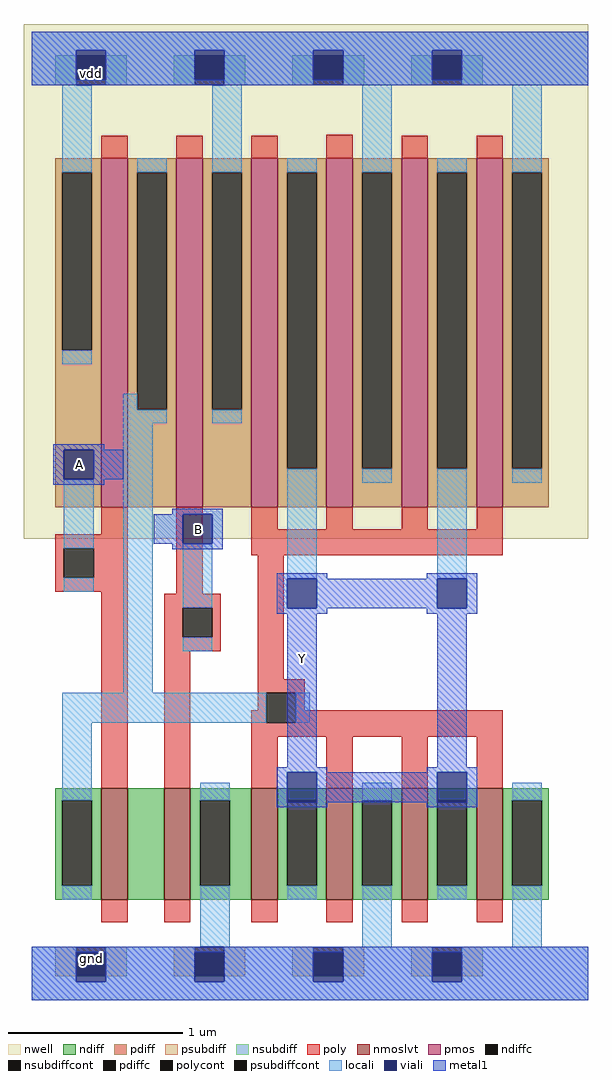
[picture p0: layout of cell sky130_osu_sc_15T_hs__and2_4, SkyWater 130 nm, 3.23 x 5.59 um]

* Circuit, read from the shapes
.subckt sky130_osu_sc_15T_hs__and2_4 Y A B
XM1 n1 A n2 gnd sky130_fd_pr__nfet_01v8_lvt w=0.64 l=0.15
XM2 gnd B n1 gnd sky130_fd_pr__nfet_01v8_lvt w=0.64 l=0.15
XM3 Y n2 gnd gnd sky130_fd_pr__nfet_01v8_lvt w=0.64 l=0.15 m=4
XM4 n2 A vdd vdd sky130_fd_pr__pfet_01v8 w=2 l=0.15
XM5 vdd B n2 vdd sky130_fd_pr__pfet_01v8 w=2 l=0.15
XM6 Y n2 vdd vdd sky130_fd_pr__pfet_01v8 w=2 l=0.15 m=4
.ends

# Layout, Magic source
magic
tech sky130A
magscale 1 2
<< nwell >>
rect -9 529 638 1119
<< nmoslvt >>
rect 80 115 110 243
rect 152 115 182 243
rect 252 115 282 243
rect 338 115 368 243
rect 424 115 454 243
rect 510 115 540 243
<< pmos >>
rect 80 565 110 965
rect 166 565 196 965
rect 252 565 282 965
rect 338 565 368 965
rect 424 565 454 965
rect 510 565 540 965
<< ndiff >>
rect 27 229 80 243
rect 27 131 35 229
rect 69 131 80 229
rect 27 115 80 131
rect 110 115 152 243
rect 182 229 252 243
rect 182 131 193 229
rect 227 131 252 229
rect 182 115 252 131
rect 282 229 338 243
rect 282 131 293 229
rect 327 131 338 229
rect 282 115 338 131
rect 368 229 424 243
rect 368 131 379 229
rect 413 131 424 229
rect 368 115 424 131
rect 454 229 510 243
rect 454 131 465 229
rect 499 131 510 229
rect 454 115 510 131
rect 540 229 593 243
rect 540 131 551 229
rect 585 131 593 229
rect 540 115 593 131
<< pdiff >>
rect 27 949 80 965
rect 27 745 35 949
rect 69 745 80 949
rect 27 565 80 745
rect 110 949 166 965
rect 110 677 121 949
rect 155 677 166 949
rect 110 565 166 677
rect 196 949 252 965
rect 196 677 207 949
rect 241 677 252 949
rect 196 565 252 677
rect 282 949 338 965
rect 282 609 293 949
rect 327 609 338 949
rect 282 565 338 609
rect 368 949 424 965
rect 368 609 379 949
rect 413 609 424 949
rect 368 565 424 609
rect 454 949 510 965
rect 454 609 465 949
rect 499 609 510 949
rect 454 565 510 609
rect 540 949 593 965
rect 540 609 551 949
rect 585 609 593 949
rect 540 565 593 609
<< ndiffc >>
rect 35 131 69 229
rect 193 131 227 229
rect 293 131 327 229
rect 379 131 413 229
rect 465 131 499 229
rect 551 131 585 229
<< pdiffc >>
rect 35 745 69 949
rect 121 677 155 949
rect 207 677 241 949
rect 293 609 327 949
rect 379 609 413 949
rect 465 609 499 949
rect 551 609 585 949
<< psubdiff >>
rect 27 27 51 61
rect 85 27 109 61
rect 163 27 187 61
rect 221 27 245 61
rect 299 27 323 61
rect 357 27 381 61
rect 435 27 459 61
rect 493 27 517 61
<< nsubdiff >>
rect 27 1049 51 1083
rect 85 1049 109 1083
rect 163 1049 187 1083
rect 221 1049 245 1083
rect 299 1049 323 1083
rect 357 1049 381 1083
rect 435 1049 459 1083
rect 493 1049 517 1083
<< psubdiffcont >>
rect 51 27 85 61
rect 187 27 221 61
rect 323 27 357 61
rect 459 27 493 61
<< nsubdiffcont >>
rect 51 1049 85 1083
rect 187 1049 221 1083
rect 323 1049 357 1083
rect 459 1049 493 1083
<< poly >>
rect 80 965 110 991
rect 166 965 196 991
rect 252 965 282 991
rect 338 965 368 992
rect 424 965 454 991
rect 510 965 540 991
rect 80 534 110 565
rect 27 518 110 534
rect 27 484 37 518
rect 71 484 110 518
rect 27 468 110 484
rect 80 243 110 468
rect 166 466 196 565
rect 252 540 282 565
rect 338 540 368 565
rect 424 540 454 565
rect 510 540 540 565
rect 252 510 540 540
rect 152 450 217 466
rect 152 416 173 450
rect 207 416 217 450
rect 152 400 217 416
rect 152 243 182 400
rect 259 368 289 510
rect 259 352 313 368
rect 259 332 269 352
rect 252 318 269 332
rect 303 332 313 352
rect 303 318 540 332
rect 252 302 540 318
rect 252 243 282 302
rect 338 243 368 302
rect 424 243 454 302
rect 510 243 540 302
rect 80 89 110 115
rect 152 89 182 115
rect 252 89 282 115
rect 338 89 368 115
rect 424 89 454 115
rect 510 89 540 115
<< polycont >>
rect 37 484 71 518
rect 173 416 207 450
rect 269 318 303 352
<< locali >>
rect 0 1089 638 1110
rect 0 1049 51 1089
rect 85 1049 187 1089
rect 221 1049 323 1089
rect 357 1049 459 1089
rect 493 1049 638 1089
rect 35 949 69 1049
rect 35 729 69 745
rect 121 949 155 965
rect 105 677 121 695
rect 105 661 155 677
rect 207 949 241 1049
rect 207 661 241 677
rect 293 949 327 965
rect 37 518 71 597
rect 37 468 71 484
rect 105 352 139 661
rect 173 450 207 523
rect 293 483 327 609
rect 379 949 413 1049
rect 379 593 413 609
rect 465 949 499 965
rect 465 483 499 609
rect 551 949 585 1049
rect 551 593 585 609
rect 173 400 207 416
rect 35 318 269 352
rect 303 318 319 352
rect 35 229 69 318
rect 35 115 69 131
rect 193 229 227 249
rect 193 61 227 131
rect 293 115 327 131
rect 379 229 413 249
rect 379 61 413 131
rect 465 115 499 131
rect 551 229 585 249
rect 551 61 585 131
rect 0 21 51 61
rect 85 21 187 61
rect 221 21 323 61
rect 357 21 459 61
rect 493 21 638 61
rect 0 0 638 21
<< viali >>
rect 51 1083 85 1089
rect 51 1055 85 1083
rect 187 1083 221 1089
rect 187 1055 221 1083
rect 323 1083 357 1089
rect 323 1055 357 1083
rect 459 1083 493 1089
rect 459 1055 493 1083
rect 37 597 71 631
rect 173 523 207 557
rect 293 449 327 483
rect 465 449 499 483
rect 293 229 327 261
rect 293 227 327 229
rect 465 229 499 261
rect 465 227 499 229
rect 51 27 85 55
rect 51 21 85 27
rect 187 27 221 55
rect 187 21 221 27
rect 323 27 357 55
rect 323 21 357 27
rect 459 27 493 55
rect 459 21 493 27
<< metal1 >>
rect 0 1089 638 1110
rect 0 1055 51 1089
rect 85 1055 187 1089
rect 221 1055 323 1089
rect 357 1055 459 1089
rect 493 1055 638 1089
rect 0 1049 638 1055
rect 25 631 83 637
rect 25 597 37 631
rect 71 597 105 631
rect 25 591 83 597
rect 161 557 219 563
rect 140 523 173 557
rect 207 523 219 557
rect 161 517 219 523
rect 281 483 339 489
rect 453 483 511 489
rect 281 449 293 483
rect 327 449 465 483
rect 499 449 511 483
rect 281 443 339 449
rect 453 443 511 449
rect 293 267 327 443
rect 465 267 499 443
rect 281 261 339 267
rect 453 261 511 267
rect 281 227 293 261
rect 327 227 465 261
rect 499 227 511 261
rect 281 221 339 227
rect 453 221 511 227
rect 0 55 638 61
rect 0 21 51 55
rect 85 21 187 55
rect 221 21 323 55
rect 357 21 459 55
rect 493 21 638 55
rect 0 0 638 21
<< labels >>
rlabel metal1 311 392 311 392 1 Y
port 1 n
rlabel viali 55 614 55 614 1 A
port 2 n
rlabel viali 191 540 191 540 1 B
port 3 n
rlabel viali 68 48 68 48 1 gnd
rlabel viali 68 1062 68 1062 1 vdd
<< end >>
